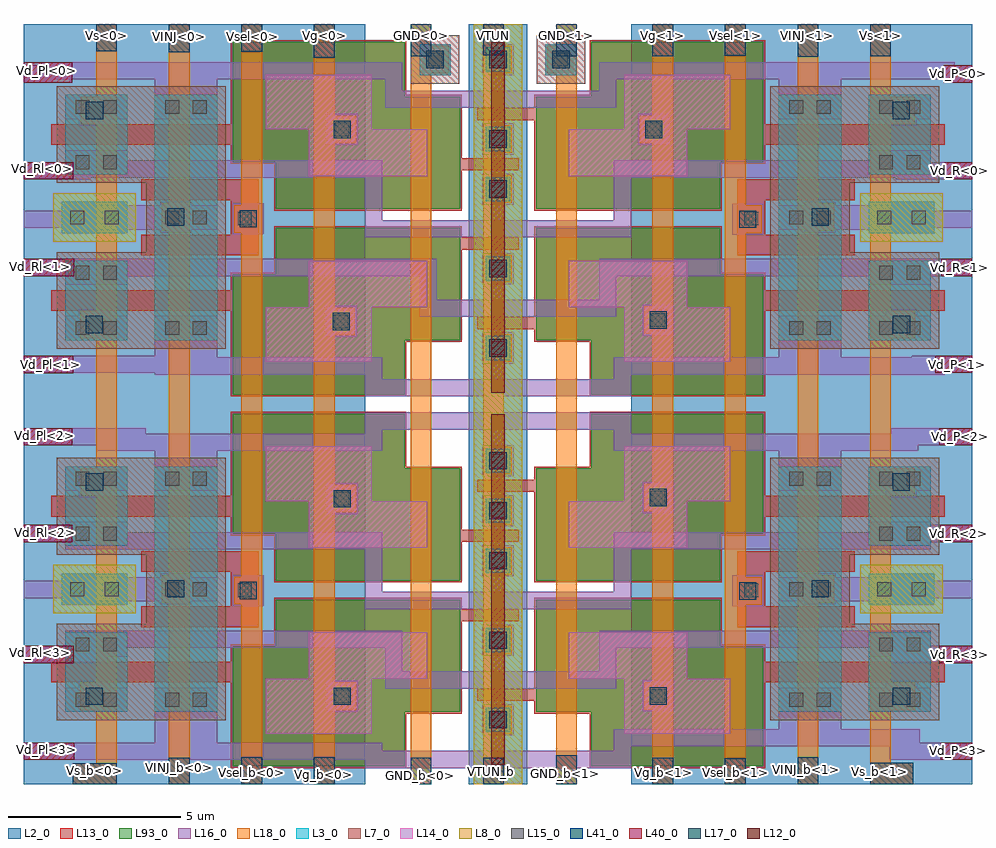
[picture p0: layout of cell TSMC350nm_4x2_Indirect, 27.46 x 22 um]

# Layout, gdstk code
from math import pi, radians
import gdstk
lib = gdstk.Library(unit=1e-6, precision=1e-09)
def R(c, l, rs):  # rectangles x0, y0, x1, y1
    for r in rs: c.add(gdstk.rectangle(r[:2], r[2:], *l))
def A(c, l, x, y, w, h, nx, ny, dx, dy):  # array of equal rectangles
    R(c, l, [(x+i*dx, y+j*dy, x+i*dx+w, y+j*dy+h) for i in range(nx) for j in range(ny)])
L2_0 = (2, 0)
L3_0 = (3, 0)
L7_0 = (7, 0)
L8_0 = (8, 0)
L12_0 = (12, 0)
L13_0 = (13, 0)
L14_0 = (14, 0)
L15_0 = (15, 0)
L16_0 = (16, 0)
L17_0 = (17, 0)
L18_0 = (18, 0)
L40_0 = (40, 0)
L41_0 = (41, 0)
L93_0 = (93, 0)

pch_cdns_742676257220 = lib.new_cell('pch_CDNS_742676257220')
R(pch_cdns_742676257220, L2_0, [(-2.05,-1.2,7.45,3)])
A(pch_cdns_742676257220, L3_0, -0.85, 0, 0.7, 1.8, 5, 1, 1.6, 0)
A(pch_cdns_742676257220, L3_0, -0.15, 0, 0.9, 1.8, 4, 1, 1.6, 0)
R(pch_cdns_742676257220, L3_0, [(-0.85,0,-0.15,1.8), (5.55,0,6.25,1.8)])
R(pch_cdns_742676257220, L7_0, [(-1.1,-0.25,6.5,2.05)])
A(pch_cdns_742676257220, L13_0, 0, -0.4, 0.6, 2.6, 4, 1, 1.6, 0)
R(pch_cdns_742676257220, L15_0, [(-0.7,0.3,-0.3,0.7), (5.7,0.3,6.1,0.7), (-0.7,1.1,-0.3,1.5), (5.7,1.1,6.1,1.5)])
R(pch_cdns_742676257220, L16_0, [(-0.85,0,-0.15,1.8), (5.55,0,6.25,1.8)])
pch_cdns_742676257220.add(gdstk.Label('G', (0.3,0.9), layer=59, texttype=0))
pch_cdns_742676257220.add(gdstk.Label('G', (1.9,0.9), layer=59, texttype=0))
pch_cdns_742676257220.add(gdstk.Label('G', (3.5,0.9), layer=59, texttype=0))
pch_cdns_742676257220.add(gdstk.Label('G', (5.1,0.9), layer=59, texttype=0))
pch_cdns_742676257220.add(gdstk.Label('S', (5.9,0.9), layer=59, texttype=0))
pch_cdns_742676257220.add(gdstk.Label('S', (-0.5,0.9), layer=59, texttype=0))
pch_cdns_742676257220.add(gdstk.Label('& Vendor VIS Corp.', (0,0), layer=16, texttype=0))
pch_cdns_742676257220.add(gdstk.Label('& PDKName     vis35cv', (0,0), layer=16, texttype=0))
pch_cdns_742676257220.add(gdstk.Label('& Version    \t  1.7A', (0,0), layer=16, texttype=0))
pch_cdns_742676257220.add(gdstk.Label('& Metric 1', (0,0), layer=16, texttype=0))
pch_cdns_742676257220.add(gdstk.Label('& Distributor VIS', (0,0), layer=16, texttype=0))
pch_cdns_742676257220.add(gdstk.Label('& SerialNumber 000000', (0,0), layer=16, texttype=0))
pch_cdns_742676257220.add(gdstk.Label('& Vendor VIS Corp.', (0,0), layer=63, texttype=63))
pch_cdns_742676257220.add(gdstk.Label('& PDKName     vis35cv', (0,0), layer=63, texttype=63))
pch_cdns_742676257220.add(gdstk.Label('& Version    \t  1.7A', (0,0), layer=63, texttype=63))
pch_cdns_742676257220.add(gdstk.Label('& Metric 1', (0,0), layer=63, texttype=63))
pch_cdns_742676257220.add(gdstk.Label('& Distributor VIS', (0,0), layer=63, texttype=63))
pch_cdns_742676257220.add(gdstk.Label('& SerialNumber 000000', (0,0), layer=63, texttype=63))

pch_cdns_742676257221 = lib.new_cell('pch_CDNS_742676257221')
R(pch_cdns_742676257221, L2_0, [(-2.05,-1.2,2.65,3)])
R(pch_cdns_742676257221, L3_0, [(-0.85,0,-0.15,1.8), (-0.85,0,-0.15,1.8), (-0.15,0,0.75,1.8), (0.75,0,1.45,1.8), (0.75,0,1.45,1.8)])
R(pch_cdns_742676257221, L7_0, [(-1.1,-0.25,1.7,2.05)])
R(pch_cdns_742676257221, L13_0, [(0,-0.4,0.6,2.2)])
pch_cdns_742676257221.add(gdstk.Label('G', (0.3,0.9), layer=59, texttype=0))
pch_cdns_742676257221.add(gdstk.Label('& Vendor VIS Corp.', (0,0), layer=63, texttype=63))
pch_cdns_742676257221.add(gdstk.Label('& PDKName     vis35cv', (0,0), layer=63, texttype=63))
pch_cdns_742676257221.add(gdstk.Label('& Version    \t  1.7A', (0,0), layer=63, texttype=63))
pch_cdns_742676257221.add(gdstk.Label('& Metric 1', (0,0), layer=63, texttype=63))
pch_cdns_742676257221.add(gdstk.Label('& Distributor VIS', (0,0), layer=63, texttype=63))
pch_cdns_742676257221.add(gdstk.Label('& SerialNumber 000000', (0,0), layer=63, texttype=63))
pch_cdns_742676257221.add(gdstk.Label('& Vendor VIS Corp.', (0,0), layer=16, texttype=0))
pch_cdns_742676257221.add(gdstk.Label('& PDKName     vis35cv', (0,0), layer=16, texttype=0))
pch_cdns_742676257221.add(gdstk.Label('& Version    \t  1.7A', (0,0), layer=16, texttype=0))
pch_cdns_742676257221.add(gdstk.Label('& Metric 1', (0,0), layer=16, texttype=0))
pch_cdns_742676257221.add(gdstk.Label('& Distributor VIS', (0,0), layer=16, texttype=0))
pch_cdns_742676257221.add(gdstk.Label('& SerialNumber 000000', (0,0), layer=16, texttype=0))

pch_cdns_742676257222 = lib.new_cell('pch_CDNS_742676257222')
R(pch_cdns_742676257222, L2_0, [(-2.05,-1.2,2.65,3)])
R(pch_cdns_742676257222, L3_0, [(-0.85,0,-0.15,1.8), (-0.85,0,-0.15,1.8), (-0.15,0,0.75,1.8), (0.75,0,1.45,1.8), (0.75,0,1.45,1.8)])
R(pch_cdns_742676257222, L7_0, [(-1.1,-0.25,1.7,2.05)])
R(pch_cdns_742676257222, L13_0, [(0,-0.4,0.6,2.2)])
R(pch_cdns_742676257222, L15_0, [(0.9,0.3,1.3,0.7), (0.9,1.1,1.3,1.5)])
R(pch_cdns_742676257222, L16_0, [(0.75,0,1.45,1.8)])
pch_cdns_742676257222.add(gdstk.Label('G', (0.3,0.9), layer=59, texttype=0))
pch_cdns_742676257222.add(gdstk.Label('S', (1.1,0.9), layer=59, texttype=0))
pch_cdns_742676257222.add(gdstk.Label('& Vendor VIS Corp.', (0,0), layer=16, texttype=0))
pch_cdns_742676257222.add(gdstk.Label('& PDKName     vis35cv', (0,0), layer=16, texttype=0))
pch_cdns_742676257222.add(gdstk.Label('& Version    \t  1.7A', (0,0), layer=16, texttype=0))
pch_cdns_742676257222.add(gdstk.Label('& Metric 1', (0,0), layer=16, texttype=0))
pch_cdns_742676257222.add(gdstk.Label('& Distributor VIS', (0,0), layer=16, texttype=0))
pch_cdns_742676257222.add(gdstk.Label('& SerialNumber 000000', (0,0), layer=16, texttype=0))
pch_cdns_742676257222.add(gdstk.Label('& Vendor VIS Corp.', (0,0), layer=63, texttype=63))
pch_cdns_742676257222.add(gdstk.Label('& PDKName     vis35cv', (0,0), layer=63, texttype=63))
pch_cdns_742676257222.add(gdstk.Label('& Version    \t  1.7A', (0,0), layer=63, texttype=63))
pch_cdns_742676257222.add(gdstk.Label('& Metric 1', (0,0), layer=63, texttype=63))
pch_cdns_742676257222.add(gdstk.Label('& Distributor VIS', (0,0), layer=63, texttype=63))
pch_cdns_742676257222.add(gdstk.Label('& SerialNumber 000000', (0,0), layer=63, texttype=63))

pch_cdns_742676257223 = lib.new_cell('pch_CDNS_742676257223')
R(pch_cdns_742676257223, L2_0, [(-2.05,-1.2,2.65,3)])
R(pch_cdns_742676257223, L3_0, [(-0.85,0,-0.15,1.8), (-0.85,0,-0.15,1.8), (-0.15,0,0.75,1.8), (0.75,0,1.45,1.8), (0.75,0,1.45,1.8)])
R(pch_cdns_742676257223, L7_0, [(-1.1,-0.25,1.7,2.05)])
R(pch_cdns_742676257223, L13_0, [(0,-0.4,0.6,2.2)])
R(pch_cdns_742676257223, L15_0, [(-0.7,0.3,-0.3,0.7), (0.9,0.3,1.3,0.7), (-0.7,1.1,-0.3,1.5), (0.9,1.1,1.3,1.5)])
R(pch_cdns_742676257223, L16_0, [(-0.85,0,-0.15,1.8), (0.75,0,1.45,1.8)])
pch_cdns_742676257223.add(gdstk.Label('G', (0.3,0.9), layer=59, texttype=0))
pch_cdns_742676257223.add(gdstk.Label('D', (-0.5,0.9), layer=59, texttype=0))
pch_cdns_742676257223.add(gdstk.Label('S', (1.1,0.9), layer=59, texttype=0))
pch_cdns_742676257223.add(gdstk.Label('& Vendor VIS Corp.', (0,0), layer=16, texttype=0))
pch_cdns_742676257223.add(gdstk.Label('& PDKName     vis35cv', (0,0), layer=16, texttype=0))
pch_cdns_742676257223.add(gdstk.Label('& Version    \t  1.7A', (0,0), layer=16, texttype=0))
pch_cdns_742676257223.add(gdstk.Label('& Metric 1', (0,0), layer=16, texttype=0))
pch_cdns_742676257223.add(gdstk.Label('& Distributor VIS', (0,0), layer=16, texttype=0))
pch_cdns_742676257223.add(gdstk.Label('& SerialNumber 000000', (0,0), layer=16, texttype=0))
pch_cdns_742676257223.add(gdstk.Label('& Vendor VIS Corp.', (0,0), layer=63, texttype=63))
pch_cdns_742676257223.add(gdstk.Label('& PDKName     vis35cv', (0,0), layer=63, texttype=63))
pch_cdns_742676257223.add(gdstk.Label('& Version    \t  1.7A', (0,0), layer=63, texttype=63))
pch_cdns_742676257223.add(gdstk.Label('& Metric 1', (0,0), layer=63, texttype=63))
pch_cdns_742676257223.add(gdstk.Label('& Distributor VIS', (0,0), layer=63, texttype=63))
pch_cdns_742676257223.add(gdstk.Label('& SerialNumber 000000', (0,0), layer=63, texttype=63))

pch_cdns_742676257224 = lib.new_cell('pch_CDNS_742676257224')
R(pch_cdns_742676257224, L2_0, [(-2.05,-1.2,2.65,3)])
R(pch_cdns_742676257224, L3_0, [(-0.85,0,-0.15,1.8), (-0.85,0,-0.15,1.8), (-0.15,0,0.75,1.8), (0.75,0,1.45,1.8), (0.75,0,1.45,1.8)])
R(pch_cdns_742676257224, L7_0, [(-1.1,-0.25,1.7,2.05)])
R(pch_cdns_742676257224, L13_0, [(0,-0.4,0.6,2.2)])
R(pch_cdns_742676257224, L15_0, [(-0.7,0.3,-0.3,0.7), (0.9,0.3,1.3,0.7), (-0.7,1.1,-0.3,1.5), (0.9,1.1,1.3,1.5)])
R(pch_cdns_742676257224, L16_0, [(-0.85,0,-0.15,1.8), (0.75,0,1.45,1.8)])
pch_cdns_742676257224.add(gdstk.Label('G', (0.3,0.9), layer=59, texttype=0))
pch_cdns_742676257224.add(gdstk.Label('S', (-0.5,0.9), layer=59, texttype=0))
pch_cdns_742676257224.add(gdstk.Label('D', (1.1,0.9), layer=59, texttype=0))
pch_cdns_742676257224.add(gdstk.Label('& Vendor VIS Corp.', (0,0), layer=16, texttype=0))
pch_cdns_742676257224.add(gdstk.Label('& PDKName     vis35cv', (0,0), layer=16, texttype=0))
pch_cdns_742676257224.add(gdstk.Label('& Version    \t  1.7A', (0,0), layer=16, texttype=0))
pch_cdns_742676257224.add(gdstk.Label('& Metric 1', (0,0), layer=16, texttype=0))
pch_cdns_742676257224.add(gdstk.Label('& Distributor VIS', (0,0), layer=16, texttype=0))
pch_cdns_742676257224.add(gdstk.Label('& SerialNumber 000000', (0,0), layer=16, texttype=0))
pch_cdns_742676257224.add(gdstk.Label('& Vendor VIS Corp.', (0,0), layer=63, texttype=63))
pch_cdns_742676257224.add(gdstk.Label('& PDKName     vis35cv', (0,0), layer=63, texttype=63))
pch_cdns_742676257224.add(gdstk.Label('& Version    \t  1.7A', (0,0), layer=63, texttype=63))
pch_cdns_742676257224.add(gdstk.Label('& Metric 1', (0,0), layer=63, texttype=63))
pch_cdns_742676257224.add(gdstk.Label('& Distributor VIS', (0,0), layer=63, texttype=63))
pch_cdns_742676257224.add(gdstk.Label('& SerialNumber 000000', (0,0), layer=63, texttype=63))

pch_cdns_742676257225 = lib.new_cell('pch_CDNS_742676257225')
R(pch_cdns_742676257225, L2_0, [(-2.05,-1.2,2.65,3)])
R(pch_cdns_742676257225, L3_0, [(-0.85,0,-0.15,1.8), (-0.85,0,-0.15,1.8), (-0.15,0,0.75,1.8), (0.75,0,1.45,1.8), (0.75,0,1.45,1.8)])
R(pch_cdns_742676257225, L7_0, [(-1.1,-0.25,1.7,2.05)])
R(pch_cdns_742676257225, L13_0, [(0,-0.4,0.6,2.2)])
R(pch_cdns_742676257225, L15_0, [(-0.7,0.3,-0.3,0.7), (-0.7,1.1,-0.3,1.5)])
R(pch_cdns_742676257225, L16_0, [(-0.85,0,-0.15,1.8)])
pch_cdns_742676257225.add(gdstk.Label('G', (0.3,0.9), layer=59, texttype=0))
pch_cdns_742676257225.add(gdstk.Label('D', (-0.5,0.9), layer=59, texttype=0))
pch_cdns_742676257225.add(gdstk.Label('& Vendor VIS Corp.', (0,0), layer=16, texttype=0))
pch_cdns_742676257225.add(gdstk.Label('& PDKName     vis35cv', (0,0), layer=16, texttype=0))
pch_cdns_742676257225.add(gdstk.Label('& Version    \t  1.7A', (0,0), layer=16, texttype=0))
pch_cdns_742676257225.add(gdstk.Label('& Metric 1', (0,0), layer=16, texttype=0))
pch_cdns_742676257225.add(gdstk.Label('& Distributor VIS', (0,0), layer=16, texttype=0))
pch_cdns_742676257225.add(gdstk.Label('& SerialNumber 000000', (0,0), layer=16, texttype=0))
pch_cdns_742676257225.add(gdstk.Label('& Vendor VIS Corp.', (0,0), layer=63, texttype=63))
pch_cdns_742676257225.add(gdstk.Label('& PDKName     vis35cv', (0,0), layer=63, texttype=63))
pch_cdns_742676257225.add(gdstk.Label('& Version    \t  1.7A', (0,0), layer=63, texttype=63))
pch_cdns_742676257225.add(gdstk.Label('& Metric 1', (0,0), layer=63, texttype=63))
pch_cdns_742676257225.add(gdstk.Label('& Distributor VIS', (0,0), layer=63, texttype=63))
pch_cdns_742676257225.add(gdstk.Label('& SerialNumber 000000', (0,0), layer=63, texttype=63))

m1_pactive_cdns_74267625 = lib.new_cell('M1_PACTIVE_CDNS_742676257223')
R(m1_pactive_cdns_74267625, L3_0, [(-0.45,-0.45,0.45,0.45)])
R(m1_pactive_cdns_74267625, L7_0, [(-0.7,-0.7,0.7,0.7)])
R(m1_pactive_cdns_74267625, L15_0, [(-0.2,-0.2,0.2,0.2)])
R(m1_pactive_cdns_74267625, L16_0, [(-0.35,-0.35,0.35,0.35)])

m1_nactive_cdns_74267625 = lib.new_cell('M1_NACTIVE_CDNS_742676257224')
R(m1_nactive_cdns_74267625, L3_0, [(-0.95,-0.45,0.95,0.45)])
R(m1_nactive_cdns_74267625, L8_0, [(-1.2,-0.7,1.2,0.7)])
R(m1_nactive_cdns_74267625, L15_0, [(-0.7,-0.2,-0.3,0.2), (0.3,-0.2,0.7,0.2)])
R(m1_nactive_cdns_74267625, L16_0, [(-0.85,-0.35,0.85,0.35)])

m1_poly1__190324780_cdns = lib.new_cell('M1_POLY1$$190324780_CDNS_744820484910')
R(m1_poly1__190324780_cdns, L13_0, [(-0.4,-0.4,0.4,0.4)])
R(m1_poly1__190324780_cdns, L15_0, [(-0.2,-0.2,0.2,0.2)])
R(m1_poly1__190324780_cdns, L16_0, [(-0.45,-0.45,0.45,0.45)])

c_m1_poly1__190324780_cdns = lib.new_cell('M1_POLY1$$190324780_CDNS_744820484911')
R(c_m1_poly1__190324780_cdns, L13_0, [(-0.4,-0.4,0.4,0.4)])
R(c_m1_poly1__190324780_cdns, L15_0, [(-0.2,-0.2,0.2,0.2)])
R(c_m1_poly1__190324780_cdns, L16_0, [(-0.35,-0.35,0.35,0.35)])

prog_periph_via2_cdns_74 = lib.new_cell('prog_periph_VIA2_CDNS_744820484912')
R(prog_periph_via2_cdns_74, L16_0, [(-0.45,-0.45,0.45,0.45)])
R(prog_periph_via2_cdns_74, L17_0, [(-0.25,-0.25,0.25,0.25)])
R(prog_periph_via2_cdns_74, L18_0, [(-0.4,-0.4,0.4,0.4)])

tsmc350nm_4x2_indirect = lib.new_cell('TSMC350nm_4x2_Indirect')
R(tsmc350nm_4x2_indirect, L2_0, [(0,0,9.88,0.89), (12.88,0,14.58,11.02), (17.58,0,27.46,0.89), (6.8,0.89,9.88,10.39), (17.58,0.89,20.66,10.39), (0,5.59,2.6,5.69), (24.86,5.59,27.46,5.69), (0,10.39,9.88,11.02), (17.58,10.39,27.46,11.02), (0,11.02,9.88,11.65), (12.88,11.02,14.58,22), (17.58,11.02,27.46,11.65), (6.8,11.65,9.88,21.15), (17.58,11.65,20.66,21.15), (0,16.35,2.6,16.45), (24.86,16.35,27.46,16.45), (0,21.15,9.88,22), (17.58,21.15,27.46,22)])
A(tsmc350nm_4x2_indirect, L3_0, 13.38, 1.51, 0.7, 0.7, 1, 3, 0, 2.3)
A(tsmc350nm_4x2_indirect, L3_0, 13.38, 12.27, 0.7, 0.7, 1, 3, 0, 2.3)
R(tsmc350nm_4x2_indirect, L3_0, [(3.8,5.29,5.6,5.99), (3.8,5.29,5.6,5.99), (21.86,5.29,23.66,5.99), (21.86,5.29,23.66,5.99), (13.38,7.56,14.08,8.26), (13.38,9.01,14.08,9.71), (3.8,16.05,5.6,16.75), (3.8,16.05,5.6,16.75), (21.86,16.05,23.66,16.75), (21.86,16.05,23.66,16.75), (13.38,18.32,14.08,19.02), (13.38,20.62,14.08,21.32)])
R(tsmc350nm_4x2_indirect, L7_0, [(3.25,1.84,3.55,4.64), (23.91,1.84,24.21,4.64), (3.25,6.64,3.55,9.44), (23.91,6.64,24.21,9.44), (3.25,12.6,3.55,15.4), (23.91,12.6,24.21,15.4), (3.25,17.4,3.55,20.2), (23.91,17.4,24.21,20.2)])
R(tsmc350nm_4x2_indirect, L8_0, [(13.03,0,14.43,11.02), (13.03,11.02,14.43,22)])
R(tsmc350nm_4x2_indirect, L12_0, [(13.53,0.56,13.93,10.71), (13.53,11.32,13.93,21.47)])
A(tsmc350nm_4x2_indirect, L13_0, 16.38, 0.46, 3.83, 4.93, 1, 4, 0, 5.38)
R(tsmc350nm_4x2_indirect, L13_0, [(6,0.46,7.25,4.04), (7.25,0.46,11.08,5.39), (17.68,0.46,20.21,5.39), (20.21,0.46,21.46,4.04), (7.25,2.04,12.68,5.39), (14.78,2.04,20.21,5.39), (13.13,2.41,17.68,2.76), (6,4.54,6.8,6.74), (20.66,4.54,21.46,6.74), (9.78,4.71,14.33,5.06), (7.25,5.84,12.68,7.01), (14.78,5.84,20.21,7.01), (7.25,7.01,10.08,10.77), (9.78,7.01,12.68,9.19), (9.78,7.01,14.33,7.36), (14.78,7.01,17.68,9.19), (6,7.19,7.25,10.77), (20.21,7.19,21.46,10.77), (13.13,8.46,17.68,8.81), (10.08,9.18,11.08,10.77), (6,11.22,7.25,14.8), (7.25,11.22,11.08,16.15), (17.68,11.22,20.21,16.15), (20.21,11.22,21.46,14.8), (7.25,12.8,12.68,16.15), (14.78,12.8,20.21,16.15), (13.13,13.17,17.68,13.52), (6,15.3,6.8,17.5), (20.66,15.3,21.46,17.5), (9.78,15.47,14.33,15.82), (7.25,16.6,12.68,17.77), (14.78,16.6,20.21,17.77), (7.25,17.77,10.08,21.53), (9.78,17.77,12.68,19.95), (12.68,17.77,14.33,18.12), (14.78,17.77,17.68,19.95), (6,17.95,7.25,21.53), (20.21,17.95,21.46,21.53), (13.13,19.22,17.68,19.57), (10.08,19.94,11.08,21.53)])
R(tsmc350nm_4x2_indirect, L14_0, [(7,1.46,10.08,3.04), (17.38,1.46,20.46,3.04), (8.25,3.04,11.68,4.39), (15.78,3.04,19.21,4.39), (8.25,6.84,11.68,8.19), (15.78,6.84,19.21,8.19), (7,8.19,10.08,9.77), (17.38,8.19,20.46,9.77), (7,12.22,10.08,13.8), (17.38,12.22,20.46,13.8), (8.25,13.8,11.68,15.15), (15.78,13.8,19.21,15.15), (8.25,17.6,11.68,18.95), (15.78,17.6,19.21,18.95), (7,18.95,10.08,20.53), (17.38,18.95,20.46,20.53)])
A(tsmc350nm_4x2_indirect, L15_0, 13.53, 1.66, 0.4, 0.4, 1, 3, 0, 2.3)
A(tsmc350nm_4x2_indirect, L15_0, 13.53, 12.42, 0.4, 0.4, 1, 3, 0, 2.3)
R(tsmc350nm_4x2_indirect, L15_0, [(4.1,5.44,4.5,5.84), (4.9,5.44,5.3,5.84), (22.16,5.44,22.56,5.84), (22.96,5.44,23.36,5.84), (13.53,7.71,13.93,8.11), (13.53,9.16,13.93,9.56), (4.1,16.2,4.5,16.6), (4.9,16.2,5.3,16.6), (22.16,16.2,22.56,16.6), (22.96,16.2,23.36,16.6), (13.53,18.47,13.93,18.87), (13.53,20.77,13.93,21.17)])
R(tsmc350nm_4x2_indirect, L16_0, [(3.8,1.2,5.6,2.09), (13.28,1.41,14.18,2.31), (13.28,1.41,14.18,2.31), (21.86,1.59,23.66,2.09), (13.28,3.71,14.18,4.61), (13.28,3.71,14.18,4.61), (3.8,5.29,5.6,5.99), (21.86,5.29,23.66,5.99), (0,5.38,1.2,5.88), (0,5.38,1.2,5.88), (26.26,5.38,27.46,5.88), (13.28,6.01,14.18,6.91), (13.28,6.01,14.18,6.91), (13.28,7.46,14.18,8.36), (13.28,7.46,14.18,8.36), (13.28,8.91,14.18,9.81), (13.28,8.91,14.18,9.81), (3.8,9.19,5.6,9.64), (21.86,9.19,23.66,9.64), (13.28,12.17,14.18,13.07), (13.28,12.17,14.18,13.07), (3.8,12.35,5.6,12.85), (21.86,12.35,23.66,12.85), (13.28,14.47,14.18,15.37), (13.28,14.47,14.18,15.37), (3.8,16.05,5.6,16.75), (21.86,16.05,23.66,16.75), (0,16.1,1.2,16.6), (0,16.1,1.2,16.6), (26.26,16.1,27.46,16.6), (13.28,16.77,14.18,17.67), (13.28,16.77,14.18,17.67), (0,17.5,1.92,18), (13.28,18.22,14.18,19.12), (13.28,18.22,14.18,19.12), (3.8,19.95,5.6,20.4), (21.86,19.95,23.66,20.4), (13.28,20.52,14.18,21.42), (13.28,20.52,14.18,21.42)])
A(tsmc350nm_4x2_indirect, L17_0, 13.48, 1.61, 0.5, 0.5, 1, 3, 0, 2.3)
A(tsmc350nm_4x2_indirect, L17_0, 13.48, 12.37, 0.5, 0.5, 1, 3, 0, 2.3)
R(tsmc350nm_4x2_indirect, L17_0, [(13.48,7.66,13.98,8.16), (13.48,9.11,13.98,9.61), (13.48,18.42,13.98,18.92), (13.48,20.72,13.98,21.22)])
A(tsmc350nm_4x2_indirect, L18_0, 13.33, 1.46, 0.8, 0.8, 1, 3, 0, 2.3)
A(tsmc350nm_4x2_indirect, L18_0, 13.33, 12.22, 0.8, 0.8, 1, 3, 0, 2.3)
R(tsmc350nm_4x2_indirect, L18_0, [(1.42,0,2.1,0.6), (25.1,0,25.75,0.61), (13.33,7.51,14.13,8.31), (13.33,8.96,14.13,9.76), (13.33,18.27,14.13,19.07), (13.33,20.57,14.13,21.37)])
R(tsmc350nm_4x2_indirect, L40_0, [(0,0.7,1.47,1.2), (26.55,0.7,27.46,1.2), (0,3.5,1.45,4), (26.5,3.5,27.46,4), (0,7,1.4,7.5), (26.53,7,27.46,7.5), (0,9.8,1.41,10.3), (26.51,9.8,27.46,10.3), (0,11.89,1.43,12.4), (26.38,11.9,27.46,12.4), (0,14.7,1.46,15.2), (26.56,14.7,27.44,15.2), (0,17.5,1.43,18), (26.66,17.5,27.46,18), (0,20.3,1.4,20.9), (26.63,20.3,27.46,20.8)])
R(tsmc350nm_4x2_indirect, L41_0, [(1.42,0,2.7,0.6), (4.2,0,4.8,0.76), (6.3,0,6.9,0.78), (8.4,0,9,0.77), (11.2,0,11.8,0.76), (13.3,0,13.9,0.76), (15.41,0,16.01,0.83), (18.2,0,18.8,0.76), (20.3,0,20.9,0.75), (22.4,0,23,0.77), (24.5,0,25.75,0.61), (8.4,21.03,9,22), (22.4,21.05,23,22), (15.41,21.06,16.01,22), (18.2,21.06,18.8,22), (24.5,21.06,25.1,22), (11.2,21.07,11.8,22), (20.3,21.08,20.9,22), (13.3,21.09,13.9,22), (4.2,21.18,4.8,22), (6.3,21.2,6.9,22), (2.1,21.21,2.7,22)])
R(tsmc350nm_4x2_indirect, L93_0, [(6.05,0.51,11.03,3.99), (16.43,0.51,21.41,3.99), (7.3,2.09,12.63,5.34), (14.83,2.09,20.16,5.34), (7.3,5.89,12.63,9.14), (14.83,5.89,20.16,9.14), (6.05,7.24,11.03,10.72), (16.43,7.24,21.41,10.72), (6.05,11.27,11.03,14.75), (16.43,11.27,21.41,14.75), (7.3,12.85,12.63,16.1), (14.83,12.85,20.16,16.1), (7.3,16.65,12.63,19.9), (14.83,16.65,20.16,19.9), (6.05,18,11.03,21.48), (16.43,18,21.41,21.48)])
tsmc350nm_4x2_indirect.add(gdstk.FlexPath([(15.71,0),(15.71,22)], 0.6, ends="flush", simple_path=True, layer=18, datatype=0))  # L18_0
tsmc350nm_4x2_indirect.add(gdstk.FlexPath([(18.5,0),(18.5,22)], 0.6, ends="flush", simple_path=True, layer=18, datatype=0))  # L18_0
tsmc350nm_4x2_indirect.add(gdstk.FlexPath([(20.6,0),(20.6,22)], 0.6, ends="flush", simple_path=True, layer=18, datatype=0))  # L18_0
tsmc350nm_4x2_indirect.add(gdstk.FlexPath([(6.6,0),(6.6,22)], 0.6, ends="flush", simple_path=True, layer=18, datatype=0))  # L18_0
tsmc350nm_4x2_indirect.add(gdstk.FlexPath([(8.7,0),(8.7,22)], 0.6, ends="flush", simple_path=True, layer=18, datatype=0))  # L18_0
tsmc350nm_4x2_indirect.add(gdstk.FlexPath([(2.4,22),(2.4,0)], 0.6, ends="flush", simple_path=True, layer=18, datatype=0))  # L18_0
tsmc350nm_4x2_indirect.add(gdstk.FlexPath([(4.5,22),(4.5,0)], 0.6, ends="flush", simple_path=True, layer=18, datatype=0))  # L18_0
tsmc350nm_4x2_indirect.add(gdstk.FlexPath([(11.5,0),(11.5,22)], 0.6, ends="flush", simple_path=True, layer=18, datatype=0))  # L18_0
tsmc350nm_4x2_indirect.add(gdstk.FlexPath([(13.6,0),(13.6,22)], 0.6, ends="flush", simple_path=True, layer=18, datatype=0))  # L18_0
tsmc350nm_4x2_indirect.add(gdstk.FlexPath([(22.7,22),(22.7,0)], 0.6, ends="flush", simple_path=True, layer=18, datatype=0))  # L18_0
tsmc350nm_4x2_indirect.add(gdstk.FlexPath([(24.8,22),(24.8,0)], 0.6, ends="flush", simple_path=True, layer=18, datatype=0))  # L18_0
tsmc350nm_4x2_indirect.add(gdstk.FlexPath([(0.84,20.55),(0,20.55)], 0.5, ends="flush", simple_path=True, layer=16, datatype=0))  # L16_0
tsmc350nm_4x2_indirect.add(gdstk.FlexPath([(10.71,19.82),(16.91,19.82)], 0.5, ends="extended", simple_path=True, layer=16, datatype=0))  # L16_0
tsmc350nm_4x2_indirect.add(gdstk.FlexPath([(11.71,14.95),(11.71,13.77)], 0.5, ends="extended", simple_path=True, layer=16, datatype=0))  # L16_0
tsmc350nm_4x2_indirect.add(gdstk.FlexPath([(0.51,20.65),(10.71,20.65)], 0.5, ends=(0, 0.25), simple_path=True, layer=16, datatype=0))  # L16_0
tsmc350nm_4x2_indirect.add(gdstk.FlexPath([(11.71,13.77),(16.91,13.77)], 0.5, ends="extended", simple_path=True, layer=16, datatype=0))  # L16_0
tsmc350nm_4x2_indirect.add(gdstk.FlexPath([(25.7,12.15),(27.46,12.15)], 0.5, ends="flush", simple_path=True, layer=16, datatype=0))  # L16_0
tsmc350nm_4x2_indirect.add(gdstk.FlexPath([(10.71,4.19),(10.71,3.01)], 0.5, ends="extended", simple_path=True, layer=16, datatype=0))  # L16_0
tsmc350nm_4x2_indirect.add(gdstk.FlexPath([(0,12.15),(4.52,12.15)], 0.5, ends="flush", simple_path=True, layer=16, datatype=0))  # L16_0
tsmc350nm_4x2_indirect.add(gdstk.FlexPath([(17.33,10.51),(17.33,9.89)], 0.5, ends="extended", simple_path=True, layer=16, datatype=0))  # L16_0
tsmc350nm_4x2_indirect.add(gdstk.FlexPath([(10.13,9.89),(10.13,10.51)], 0.5, ends="extended", simple_path=True, layer=16, datatype=0))  # L16_0
tsmc350nm_4x2_indirect.add(gdstk.FlexPath([(10.13,7.04),(10.13,5.31)], 0.5, ends="extended", simple_path=True, layer=16, datatype=0))  # L16_0
tsmc350nm_4x2_indirect.add(gdstk.FlexPath([(3.8,12.1),(10.13,12.1)], 0.5, ends=(0, 0.25), simple_path=True, layer=16, datatype=0))  # L16_0
tsmc350nm_4x2_indirect.add(gdstk.FlexPath([(17.33,7.04),(26.26,7.04)], 0.5, ends=(0.25, 0), simple_path=True, layer=16, datatype=0))  # L16_0
tsmc350nm_4x2_indirect.add(gdstk.FlexPath([(10.13,12.1),(10.38,12.1)], 0.5, ends=(0.25, 0), simple_path=True, layer=16, datatype=0))  # L16_0
tsmc350nm_4x2_indirect.add(gdstk.FlexPath([(25.05,3.75),(27.46,3.75)], 0.5, ends="flush", simple_path=True, layer=16, datatype=0))  # L16_0
tsmc350nm_4x2_indirect.add(gdstk.FlexPath([(1.21,4.19),(10.62,4.19)], 0.5, ends="flush", simple_path=True, layer=16, datatype=0))  # L16_0
tsmc350nm_4x2_indirect.add(gdstk.FlexPath([(16.91,13.77),(16.91,14.95)], 0.5, ends="extended", simple_path=True, layer=16, datatype=0))  # L16_0
tsmc350nm_4x2_indirect.add(gdstk.FlexPath([(10.71,3.01),(16.91,3.01)], 0.5, ends="extended", simple_path=True, layer=16, datatype=0))  # L16_0
tsmc350nm_4x2_indirect.add(gdstk.FlexPath([(25.05,0.95),(27.46,0.95)], 0.5, ends="flush", simple_path=True, layer=16, datatype=0))  # L16_0
tsmc350nm_4x2_indirect.add(gdstk.FlexPath([(16.91,14.95),(27.46,14.95)], 0.5, ends=(0.25, 0), simple_path=True, layer=16, datatype=0))  # L16_0
tsmc350nm_4x2_indirect.add(gdstk.FlexPath([(0,14.95),(11.62,14.95)], 0.5, ends="flush", simple_path=True, layer=16, datatype=0))  # L16_0
tsmc350nm_4x2_indirect.add(gdstk.FlexPath([(10.13,5.31),(17.33,5.31)], 0.5, ends="extended", simple_path=True, layer=16, datatype=0))  # L16_0
tsmc350nm_4x2_indirect.add(gdstk.FlexPath([(10.13,12.1),(10.13,11.47)], 0.5, ends="extended", simple_path=True, layer=16, datatype=0))  # L16_0
tsmc350nm_4x2_indirect.add(gdstk.FlexPath([(10.13,11.47),(17.33,11.47)], 0.5, ends="extended", simple_path=True, layer=16, datatype=0))  # L16_0
tsmc350nm_4x2_indirect.add(gdstk.FlexPath([(10.13,0.95),(10.13,0.71)], 0.5, ends="extended", simple_path=True, layer=16, datatype=0))  # L16_0
tsmc350nm_4x2_indirect.add(gdstk.FlexPath([(0,0.95),(10.13,0.95)], 0.5, ends=(0, 0.25), simple_path=True, layer=16, datatype=0))  # L16_0
tsmc350nm_4x2_indirect.add(gdstk.FlexPath([(0,7.25),(2.43,7.25)], 0.5, ends="flush", simple_path=True, layer=16, datatype=0))  # L16_0
tsmc350nm_4x2_indirect.add(gdstk.FlexPath([(0,3.75),(2.43,3.75)], 0.5, ends="flush", simple_path=True, layer=16, datatype=0))  # L16_0
tsmc350nm_4x2_indirect.add(gdstk.FlexPath([(0,10.05),(3.53,10.05)], 0.5, ends="flush", simple_path=True, layer=16, datatype=0))  # L16_0
tsmc350nm_4x2_indirect.add(gdstk.FlexPath([(10.13,17.8),(1.2,17.8)], 0.5, ends=(0.25, 0), simple_path=True, layer=16, datatype=0))  # L16_0
tsmc350nm_4x2_indirect.add(gdstk.FlexPath([(10.13,0.71),(17.33,0.71)], 0.5, ends="extended", simple_path=True, layer=16, datatype=0))  # L16_0
tsmc350nm_4x2_indirect.add(gdstk.FlexPath([(16.91,3.01),(16.91,4.19)], 0.5, ends="extended", simple_path=True, layer=16, datatype=0))  # L16_0
tsmc350nm_4x2_indirect.add(gdstk.FlexPath([(17.33,0.71),(17.33,1.34)], 0.5, ends="extended", simple_path=True, layer=16, datatype=0))  # L16_0
tsmc350nm_4x2_indirect.add(gdstk.FlexPath([(10.13,10.51),(17.33,10.51)], 0.5, ends="extended", simple_path=True, layer=16, datatype=0))  # L16_0
tsmc350nm_4x2_indirect.add(gdstk.FlexPath([(17.33,11.47),(17.33,12.1)], 0.5, ends="extended", simple_path=True, layer=16, datatype=0))  # L16_0
tsmc350nm_4x2_indirect.add(gdstk.FlexPath([(10.13,17.8),(10.13,16.07)], 0.5, ends="extended", simple_path=True, layer=16, datatype=0))  # L16_0
tsmc350nm_4x2_indirect.add(gdstk.FlexPath([(17.33,5.31),(17.33,7.04)], 0.5, ends="extended", simple_path=True, layer=16, datatype=0))  # L16_0
tsmc350nm_4x2_indirect.add(gdstk.FlexPath([(17.58,9.89),(25.9,9.89)], 0.5, ends="flush", simple_path=True, layer=16, datatype=0))  # L16_0
tsmc350nm_4x2_indirect.add(gdstk.FlexPath([(10.13,16.07),(17.33,16.07)], 0.5, ends="extended", simple_path=True, layer=16, datatype=0))  # L16_0
tsmc350nm_4x2_indirect.add(gdstk.FlexPath([(17.33,16.07),(17.33,17.8)], 0.5, ends="extended", simple_path=True, layer=16, datatype=0))  # L16_0
tsmc350nm_4x2_indirect.add(gdstk.FlexPath([(17.33,17.8),(26.26,17.8)], 0.5, ends=(0.25, 0), simple_path=True, layer=16, datatype=0))  # L16_0
tsmc350nm_4x2_indirect.add(gdstk.FlexPath([(0.84,20.55),(0,20.55)], 0.5, ends="flush", simple_path=True, layer=16, datatype=0))  # L16_0
tsmc350nm_4x2_indirect.add(gdstk.FlexPath([(10.13,7.04),(1.2,7.04)], 0.5, ends=(0.25, 0), simple_path=True, layer=16, datatype=0))  # L16_0
tsmc350nm_4x2_indirect.add(gdstk.FlexPath([(10.71,20.65),(10.71,19.82)], 0.5, ends="extended", simple_path=True, layer=16, datatype=0))  # L16_0
tsmc350nm_4x2_indirect.add(gdstk.FlexPath([(2.1,9.89),(10.13,9.89)], 0.5, ends=(0, 0.25), simple_path=True, layer=16, datatype=0))  # L16_0
tsmc350nm_4x2_indirect.add(gdstk.FlexPath([(16.91,19.82),(16.91,20.65)], 0.5, ends="extended", simple_path=True, layer=16, datatype=0))  # L16_0
tsmc350nm_4x2_indirect.add(gdstk.FlexPath([(16.91,20.65),(26.95,20.65)], 0.5, ends=(0.25, 0), simple_path=True, layer=16, datatype=0))  # L16_0
tsmc350nm_4x2_indirect.add(gdstk.FlexPath([(17.08,12.1),(17.33,12.1)], 0.5, ends=(0, 0.25), simple_path=True, layer=16, datatype=0))  # L16_0
tsmc350nm_4x2_indirect.add(gdstk.FlexPath([(16.89,4.19),(16.91,4.19)], 0.5, ends=(0, 0.25), simple_path=True, layer=16, datatype=0))  # L16_0
tsmc350nm_4x2_indirect.add(gdstk.FlexPath([(17.08,1.34),(17.33,1.34)], 0.5, ends=(0, 0.25), simple_path=True, layer=16, datatype=0))  # L16_0
tsmc350nm_4x2_indirect.add(gdstk.FlexPath([(17.33,1.34),(25.94,1.34)], 0.5, ends=(0.25, 0), simple_path=True, layer=16, datatype=0))  # L16_0
tsmc350nm_4x2_indirect.add(gdstk.FlexPath([(16.91,4.19),(26.26,4.19)], 0.5, ends=(0.25, 0), simple_path=True, layer=16, datatype=0))  # L16_0
tsmc350nm_4x2_indirect.add(gdstk.FlexPath([(25.1,10.05),(27.46,10.05)], 0.5, ends="flush", simple_path=True, layer=16, datatype=0))  # L16_0
tsmc350nm_4x2_indirect.add(gdstk.FlexPath([(17.33,12.1),(26.66,12.1)], 0.5, ends=(0.25, 0), simple_path=True, layer=16, datatype=0))  # L16_0
tsmc350nm_4x2_indirect.add(gdstk.FlexPath([(25.24,17.75),(27.46,17.75)], 0.5, ends="flush", simple_path=True, layer=16, datatype=0))  # L16_0
tsmc350nm_4x2_indirect.add(gdstk.FlexPath([(26.63,20.55),(27.46,20.55)], 0.5, ends="flush", simple_path=True, layer=16, datatype=0))  # L16_0
tsmc350nm_4x2_indirect.add(gdstk.FlexPath([(25.32,7.25),(27.46,7.25)], 0.5, ends="flush", simple_path=True, layer=16, datatype=0))  # L16_0
tsmc350nm_4x2_indirect.add(gdstk.FlexPath([(21.86,16.4),(25.41,16.4)], 0.7, ends="flush", simple_path=True, layer=16, datatype=0))  # L16_0
tsmc350nm_4x2_indirect.add(gdstk.FlexPath([(5.6,5.64),(2.05,5.64)], 0.7, ends="flush", simple_path=True, layer=16, datatype=0))  # L16_0
tsmc350nm_4x2_indirect.add(gdstk.FlexPath([(2.05,5.64),(1.2,5.64)], 0.7, ends="flush", simple_path=True, layer=16, datatype=0))  # L16_0
tsmc350nm_4x2_indirect.add(gdstk.FlexPath([(5.6,16.4),(2.05,16.4)], 0.7, ends="flush", simple_path=True, layer=16, datatype=0))  # L16_0
tsmc350nm_4x2_indirect.add(gdstk.FlexPath([(25.41,16.4),(26.26,16.4)], 0.7, ends="flush", simple_path=True, layer=16, datatype=0))  # L16_0
tsmc350nm_4x2_indirect.add(gdstk.FlexPath([(2.05,16.4),(1.2,16.4)], 0.7, ends="flush", simple_path=True, layer=16, datatype=0))  # L16_0
tsmc350nm_4x2_indirect.add(gdstk.FlexPath([(21.86,5.64),(25.41,5.64)], 0.7, ends="flush", simple_path=True, layer=16, datatype=0))  # L16_0
tsmc350nm_4x2_indirect.add(gdstk.FlexPath([(25.41,5.64),(26.26,5.64)], 0.7, ends="flush", simple_path=True, layer=16, datatype=0))  # L16_0
tsmc350nm_4x2_indirect.add(gdstk.Reference(pch_cdns_742676257220, (23.66,2.94), rotation=pi/2))
tsmc350nm_4x2_indirect.add(gdstk.Reference(pch_cdns_742676257220, (23.66,13.7), rotation=pi/2))
tsmc350nm_4x2_indirect.add(gdstk.Reference(pch_cdns_742676257220, (3.8,2.94), rotation=pi/2, x_reflection=True))
tsmc350nm_4x2_indirect.add(gdstk.Reference(pch_cdns_742676257221, (3.8,16.9), rotation=pi/2, x_reflection=True))
tsmc350nm_4x2_indirect.add(gdstk.Reference(pch_cdns_742676257222, (3.8,18.5), rotation=pi/2, x_reflection=True))
tsmc350nm_4x2_indirect.add(gdstk.Reference(pch_cdns_742676257222, (3.8,15.3), rotation=pi/2, x_reflection=True))
tsmc350nm_4x2_indirect.add(gdstk.Reference(pch_cdns_742676257223, (1.2,7.74), rotation=pi/2, x_reflection=True))
tsmc350nm_4x2_indirect.add(gdstk.Reference(pch_cdns_742676257223, (26.26,18.5), rotation=pi/2))
tsmc350nm_4x2_indirect.add(gdstk.Reference(pch_cdns_742676257223, (26.26,7.74), rotation=pi/2))
tsmc350nm_4x2_indirect.add(gdstk.Reference(pch_cdns_742676257223, (1.2,18.5), rotation=pi/2, x_reflection=True))
tsmc350nm_4x2_indirect.add(gdstk.Reference(pch_cdns_742676257224, (26.26,2.94), rotation=pi/2))
tsmc350nm_4x2_indirect.add(gdstk.Reference(pch_cdns_742676257224, (26.26,13.7), rotation=pi/2))
tsmc350nm_4x2_indirect.add(gdstk.Reference(pch_cdns_742676257224, (1.2,13.7), rotation=pi/2, x_reflection=True))
tsmc350nm_4x2_indirect.add(gdstk.Reference(pch_cdns_742676257224, (1.2,2.94), rotation=pi/2, x_reflection=True))
tsmc350nm_4x2_indirect.add(gdstk.Reference(pch_cdns_742676257225, (3.8,13.7), rotation=pi/2, x_reflection=True))
tsmc350nm_4x2_indirect.add(gdstk.Reference(m1_pactive_cdns_74267625, (11.91,20.97)))
tsmc350nm_4x2_indirect.add(gdstk.Reference(m1_pactive_cdns_74267625, (15.55,20.97)))
tsmc350nm_4x2_indirect.add(gdstk.Reference(m1_nactive_cdns_74267625, (25.41,16.4)))
tsmc350nm_4x2_indirect.add(gdstk.Reference(m1_nactive_cdns_74267625, (25.41,5.64)))
tsmc350nm_4x2_indirect.add(gdstk.Reference(m1_nactive_cdns_74267625, (2.05,5.64), rotation=pi, x_reflection=True))
tsmc350nm_4x2_indirect.add(gdstk.Reference(m1_nactive_cdns_74267625, (2.05,16.4), rotation=pi, x_reflection=True))
tsmc350nm_4x2_indirect.add(gdstk.Reference(m1_poly1__190324780_cdns, (18.37,2.55)))
tsmc350nm_4x2_indirect.add(gdstk.Reference(m1_poly1__190324780_cdns, (18.37,13.43)))
tsmc350nm_4x2_indirect.add(gdstk.Reference(m1_poly1__190324780_cdns, (9.22,2.54)))
tsmc350nm_4x2_indirect.add(gdstk.Reference(m1_poly1__190324780_cdns, (18.37,8.29)))
tsmc350nm_4x2_indirect.add(gdstk.Reference(m1_poly1__190324780_cdns, (9.22,8.26)))
tsmc350nm_4x2_indirect.add(gdstk.Reference(m1_poly1__190324780_cdns, (18.24,18.95)))
tsmc350nm_4x2_indirect.add(gdstk.Reference(m1_poly1__190324780_cdns, (9.22,18.95)))
tsmc350nm_4x2_indirect.add(gdstk.Reference(m1_poly1__190324780_cdns, (9.19,13.39), rotation=pi, x_reflection=True))
tsmc350nm_4x2_indirect.add(gdstk.Reference(c_m1_poly1__190324780_cdns, (21.06,16.37)))
tsmc350nm_4x2_indirect.add(gdstk.Reference(c_m1_poly1__190324780_cdns, (6.4,16.37), rotation=pi, x_reflection=True))
tsmc350nm_4x2_indirect.add(gdstk.Reference(c_m1_poly1__190324780_cdns, (21.06,5.61)))
tsmc350nm_4x2_indirect.add(gdstk.Reference(c_m1_poly1__190324780_cdns, (6.4,5.61), rotation=pi, x_reflection=True))
tsmc350nm_4x2_indirect.add(gdstk.Reference(prog_periph_via2_cdns_74, (2.04,2.54), rotation=pi, x_reflection=True))
tsmc350nm_4x2_indirect.add(gdstk.Reference(prog_periph_via2_cdns_74, (18.37,13.43)))
tsmc350nm_4x2_indirect.add(gdstk.Reference(prog_periph_via2_cdns_74, (2.05,19.5), rotation=pi, x_reflection=True))
tsmc350nm_4x2_indirect.add(gdstk.Reference(prog_periph_via2_cdns_74, (2.04,13.3), rotation=pi, x_reflection=True))
tsmc350nm_4x2_indirect.add(gdstk.Reference(prog_periph_via2_cdns_74, (20.96,16.35)))
tsmc350nm_4x2_indirect.add(gdstk.Reference(prog_periph_via2_cdns_74, (15.55,20.97)))
tsmc350nm_4x2_indirect.add(gdstk.Reference(prog_periph_via2_cdns_74, (18.37,2.55)))
tsmc350nm_4x2_indirect.add(gdstk.Reference(prog_periph_via2_cdns_74, (11.91,20.97)))
tsmc350nm_4x2_indirect.add(gdstk.Reference(prog_periph_via2_cdns_74, (6.5,5.6)))
tsmc350nm_4x2_indirect.add(gdstk.Reference(prog_periph_via2_cdns_74, (9.22,8.26)))
tsmc350nm_4x2_indirect.add(gdstk.Reference(prog_periph_via2_cdns_74, (18.24,18.95)))
tsmc350nm_4x2_indirect.add(gdstk.Reference(prog_periph_via2_cdns_74, (18.37,8.29)))
tsmc350nm_4x2_indirect.add(gdstk.Reference(prog_periph_via2_cdns_74, (9.22,18.95)))
tsmc350nm_4x2_indirect.add(gdstk.Reference(prog_periph_via2_cdns_74, (25.41,13.3)))
tsmc350nm_4x2_indirect.add(gdstk.Reference(prog_periph_via2_cdns_74, (9.22,2.54)))
tsmc350nm_4x2_indirect.add(gdstk.Reference(prog_periph_via2_cdns_74, (25.4,8.74)))
tsmc350nm_4x2_indirect.add(gdstk.Reference(prog_periph_via2_cdns_74, (4.4,16.41), rotation=pi, x_reflection=True))
tsmc350nm_4x2_indirect.add(gdstk.Reference(prog_periph_via2_cdns_74, (20.96,5.59)))
tsmc350nm_4x2_indirect.add(gdstk.Reference(prog_periph_via2_cdns_74, (2.05,8.74), rotation=pi, x_reflection=True))
tsmc350nm_4x2_indirect.add(gdstk.Reference(prog_periph_via2_cdns_74, (23.06,16.41)))
tsmc350nm_4x2_indirect.add(gdstk.Reference(prog_periph_via2_cdns_74, (23.06,5.65)))
tsmc350nm_4x2_indirect.add(gdstk.Reference(prog_periph_via2_cdns_74, (25.41,2.54)))
tsmc350nm_4x2_indirect.add(gdstk.Reference(prog_periph_via2_cdns_74, (25.4,19.5)))
tsmc350nm_4x2_indirect.add(gdstk.Reference(prog_periph_via2_cdns_74, (4.4,5.65), rotation=pi, x_reflection=True))
tsmc350nm_4x2_indirect.add(gdstk.Reference(prog_periph_via2_cdns_74, (6.5,16.36)))
tsmc350nm_4x2_indirect.add(gdstk.Reference(prog_periph_via2_cdns_74, (9.19,13.39), rotation=pi, x_reflection=True))
tsmc350nm_4x2_indirect.add(gdstk.Label('Vg<1>', (18.5,21.66), layer=41, texttype=0))
tsmc350nm_4x2_indirect.add(gdstk.Label('Vsel<1>', (20.6,21.67), layer=41, texttype=0))
tsmc350nm_4x2_indirect.add(gdstk.Label('VINJ<1>', (22.7,21.66), layer=41, texttype=0))
tsmc350nm_4x2_indirect.add(gdstk.Label('Vsel<0>', (6.62,21.65), layer=41, texttype=0))
tsmc350nm_4x2_indirect.add(gdstk.Label('Vs<0>', (2.4,21.66), layer=41, texttype=0))
tsmc350nm_4x2_indirect.add(gdstk.Label('Vs<1>', (24.8,21.66), layer=41, texttype=0))
tsmc350nm_4x2_indirect.add(gdstk.Label('VTUN', (13.6,21.66), layer=41, texttype=0))
tsmc350nm_4x2_indirect.add(gdstk.Label('VINJ<0>', (4.51,21.65), layer=41, texttype=0))
tsmc350nm_4x2_indirect.add(gdstk.Label('GND<0>', (11.51,21.66), layer=41, texttype=0))
tsmc350nm_4x2_indirect.add(gdstk.Label('Vg<0>', (8.7,21.66), layer=41, texttype=0))
tsmc350nm_4x2_indirect.add(gdstk.Label('GND<1>', (15.71,21.66), layer=41, texttype=0))
tsmc350nm_4x2_indirect.add(gdstk.Label('Vs_b<0>', (2.05,0.4), layer=41, texttype=0))
tsmc350nm_4x2_indirect.add(gdstk.Label('VINJ_b<0>', (4.51,0.47), layer=41, texttype=0))
tsmc350nm_4x2_indirect.add(gdstk.Label('Vsel_b<0>', (6.6,0.34), layer=41, texttype=0))
tsmc350nm_4x2_indirect.add(gdstk.Label('Vg_b<0>', (8.68,0.28), layer=41, texttype=0))
tsmc350nm_4x2_indirect.add(gdstk.Label('GND_b<0>', (11.5,0.26), layer=41, texttype=0))
tsmc350nm_4x2_indirect.add(gdstk.Label('VTUN_b', (13.54,0.35), layer=41, texttype=0))
tsmc350nm_4x2_indirect.add(gdstk.Label('GND_b<1>', (15.69,0.31), layer=41, texttype=0))
tsmc350nm_4x2_indirect.add(gdstk.Label('Vg_b<1>', (18.53,0.33), layer=41, texttype=0))
tsmc350nm_4x2_indirect.add(gdstk.Label('Vsel_b<1>', (20.6,0.34), layer=41, texttype=0))
tsmc350nm_4x2_indirect.add(gdstk.Label('VINJ_b<1>', (22.67,0.41), layer=41, texttype=0))
tsmc350nm_4x2_indirect.add(gdstk.Label('Vs_b<1>', (24.76,0.36), layer=41, texttype=0))
tsmc350nm_4x2_indirect.add(gdstk.Label('Vd_Pl<3>', (0.66,1.01), layer=40, texttype=0))
tsmc350nm_4x2_indirect.add(gdstk.Label('Vd_Rl<3>', (0.49,3.81), layer=40, texttype=0))
tsmc350nm_4x2_indirect.add(gdstk.Label('Vd_Rl<2>', (0.64,7.27), layer=40, texttype=0))
tsmc350nm_4x2_indirect.add(gdstk.Label('Vd_Pl<2>', (0.6,10.08), layer=40, texttype=0))
tsmc350nm_4x2_indirect.add(gdstk.Label('Vd_Pl<1>', (0.78,12.13), layer=40, texttype=0))
tsmc350nm_4x2_indirect.add(gdstk.Label('Vd_Rl<1>', (0.5,14.97), layer=40, texttype=0))
tsmc350nm_4x2_indirect.add(gdstk.Label('Vd_Rl<0>', (0.55,17.83), layer=40, texttype=0))
tsmc350nm_4x2_indirect.add(gdstk.Label('Vd_Pl<0>', (0.67,20.66), layer=40, texttype=0))
tsmc350nm_4x2_indirect.add(gdstk.Label('Vd_P<0>', (27.07,20.56), layer=40, texttype=0))
tsmc350nm_4x2_indirect.add(gdstk.Label('Vd_R<1>', (27.09,14.96), layer=40, texttype=0))
tsmc350nm_4x2_indirect.add(gdstk.Label('Vd_R<3>', (27.1,3.75), layer=40, texttype=0))
tsmc350nm_4x2_indirect.add(gdstk.Label('Vd_P<3>', (27.05,0.96), layer=40, texttype=0))
tsmc350nm_4x2_indirect.add(gdstk.Label('Vd_P<1>', (27.02,12.15), layer=40, texttype=0))
tsmc350nm_4x2_indirect.add(gdstk.Label('Vd_P<2>', (27.12,10.07), layer=40, texttype=0))
tsmc350nm_4x2_indirect.add(gdstk.Label('Vd_R<0>', (27.1,17.75), layer=40, texttype=0))
tsmc350nm_4x2_indirect.add(gdstk.Label('Vd_R<2>', (27.06,7.26), layer=40, texttype=0))

lib.write_gds('TSMC350nm_4x2_Indirect.gds')
